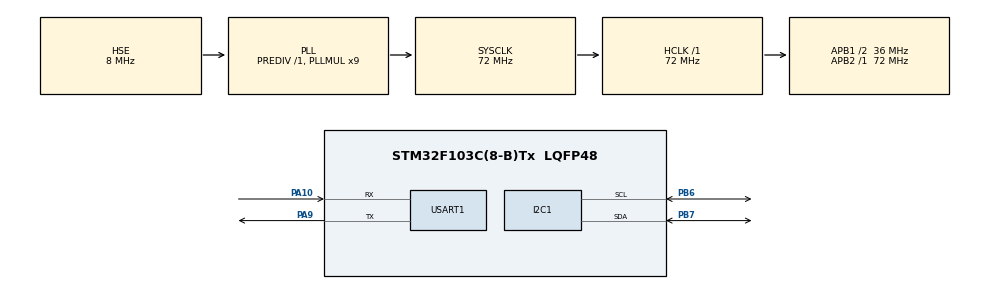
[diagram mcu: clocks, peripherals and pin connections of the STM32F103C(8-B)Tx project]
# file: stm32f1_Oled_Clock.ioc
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Mcu.Family=STM32F1
Mcu.Name=STM32F103C(8-B)Tx
Mcu.Package=LQFP48
NVIC.PriorityGroup=NVIC_PRIORITYGROUP_4
PA10.Mode=Asynchronous
PA10.Signal=USART1_RX
PA13.Mode=Serial_Wire
PA13.Signal=SYS_JTMS-SWDIO
PA14.Mode=Serial_Wire
PA14.Signal=SYS_JTCK-SWCLK
PA9.Mode=Asynchronous
PA9.Signal=USART1_TX
PB6.Mode=I2C
PB6.Signal=I2C1_SCL
PB7.Mode=I2C
PB7.Signal=I2C1_SDA
PD0-OSC_IN.Mode=HSE-External-Oscillator
PD0-OSC_IN.Signal=RCC_OSC_IN
PD1-OSC_OUT.Mode=HSE-External-Oscillator
PD1-OSC_OUT.Signal=RCC_OSC_OUT
ProjectManager.HeapSize=0x200
ProjectManager.StackSize=0x400
ProjectManager.TargetToolchain=TrueSTUDIO
RCC.AHBFreq_Value=72000000
RCC.APB1CLKDivider=RCC_HCLK_DIV2
RCC.APB1Freq_Value=36000000
RCC.APB1TimFreq_Value=72000000
RCC.APB2Freq_Value=72000000
RCC.APB2TimFreq_Value=72000000
RCC.HCLKFreq_Value=72000000
RCC.PLLMUL=RCC_PLL_MUL9
RCC.PLLSourceVirtual=RCC_PLLSOURCE_HSE
RCC.SYSCLKFreq_VALUE=72000000
RCC.SYSCLKSource=RCC_SYSCLKSOURCE_PLLCLK
RCC.USBFreq_Value=72000000
USART1.VirtualMode=VM_ASYNC
board=custom

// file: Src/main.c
/* USER CODE BEGIN Header */
/**
 ******************************************************************************
 * @file           : main.c
 * @brief          : Main program body
 ******************************************************************************
 ** This notice applies to any and all portions of this file
 * that are not between comment pairs USER CODE BEGIN and
 * USER CODE END. Other portions of this file, whether
 * inserted by the user or by software development tools
 * are owned by their respective copyright owners.
 *
 * COPYRIGHT(c) 2019 STMicroelectronics
 *
 * Redistribution and use in source and binary forms, with or without modification,
 * are permitted provided that the following conditions are met:
 *   1. Redistributions of source code must retain the above copyright notice,
 *      this list of conditions and the following disclaimer.
 *   2. Redistributions in binary form must reproduce the above copyright notice,
 *      this list of conditions and the following disclaimer in the documentation
 *      and/or other materials provided with the distribution.
 *   3. Neither the name of STMicroelectronics nor the names of its contributors
 *      may be used to endorse or promote products derived from this software
 *      without specific prior written permission.
 *
 * THIS SOFTWARE IS PROVIDED BY THE COPYRIGHT HOLDERS AND CONTRIBUTORS "AS IS"
 * AND ANY EXPRESS OR IMPLIED WARRANTIES, INCLUDING, BUT NOT LIMITED TO, THE
 * IMPLIED WARRANTIES OF MERCHANTABILITY AND FITNESS FOR A PARTICULAR PURPOSE ARE
 * DISCLAIMED. IN NO EVENT SHALL THE COPYRIGHT HOLDER OR CONTRIBUTORS BE LIABLE
 * FOR ANY DIRECT, INDIRECT, INCIDENTAL, SPECIAL, EXEMPLARY, OR CONSEQUENTIAL
 * DAMAGES (INCLUDING, BUT NOT LIMITED TO, PROCUREMENT OF SUBSTITUTE GOODS OR
 * SERVICES; LOSS OF USE, DATA, OR PROFITS; OR BUSINESS INTERRUPTION) HOWEVER
 * CAUSED AND ON ANY THEORY OF LIABILITY, WHETHER IN CONTRACT, STRICT LIABILITY,
 * OR TORT (INCLUDING NEGLIGENCE OR OTHERWISE) ARISING IN ANY WAY OUT OF THE USE
 * OF THIS SOFTWARE, EVEN IF ADVISED OF THE POSSIBILITY OF SUCH DAMAGE.
 *
 ******************************************************************************
 */
/* USER CODE END Header */

#include "main.h"
#include "i2c.h"
#include "usart.h"
#include "gpio.h"
#include <string.h>
#include <stdlib.h>

/* USER CODE BEGIN Includes */
#include "ssd1306.h"
#include <inttypes.h>
/* USER CODE END Includes */

void SystemClock_Config(void);

int main(void) {

	/* MCU Configuration--------------------------------------------------------*/

	/* Reset of all peripherals, Initializes the Flash interface and the Systick. */
	HAL_Init();

	/* Configure the system clock */
	SystemClock_Config();

	/* Initialize all configured peripherals */
	MX_GPIO_Init();
	MX_I2C1_Init();
	MX_USART1_UART_Init();
	/* USER CODE BEGIN 2 */
	ssd1306_Init();

	ssd1306_SetCursor(0, 0);
	ssd1306_WriteString("Clock", Font_11x18, White);
	ssd1306_UpdateScreen();
	HAL_Delay(1000);
	/* USER CODE END 2 */

	/* Infinite loop */
	/* USER CODE BEGIN WHILE */
	uint8_t dc3231Addr = (uint8_t) 0xD0;

	DS3231_sendData(hi2c1, dc3231Addr); //Передадим адрес устройству
	while (HAL_I2C_GetState(&hi2c1) != HAL_I2C_STATE_READY) {
	}
	//Read
	I2C_ReadCalendarData(hi2c1, dc3231Addr); //—читаем 7 байт с устройства
	//set date
	DS3231_setDate(hi2c1, dc3231Addr); //call to update set data
	//Write

	while (1) {
		/* USER CODE END WHILE */

		/* USER CODE BEGIN 3 */
		DS3231_sendData(hi2c1, dc3231Addr); //Передадим адрес устройству
		while (HAL_I2C_GetState(&hi2c1) != HAL_I2C_STATE_READY) {
		}
		//Read
		I2C_ReadCalendarData(hi2c1, dc3231Addr); //—читаем 7 байт с устройства

		ssd1306_SetCursor(0, 0);
		ssd1306_WriteString(readDate(), Font_11x18, White);
		ssd1306_WriteString(":", Font_11x18, White);
		ssd1306_WriteString(readMonth(), Font_11x18, White);
		ssd1306_WriteString(":", Font_11x18, White);
		ssd1306_WriteString("20", Font_11x18, White);
		ssd1306_WriteString(readYear(), Font_11x18, White);

		ssd1306_SetCursor(0, 18);
		ssd1306_WriteString(readHours(), Font_11x18, White);
		ssd1306_WriteString(":", Font_11x18, White);
		ssd1306_WriteString(readMinutes(), Font_11x18, White);
		ssd1306_WriteString(":", Font_11x18, White);
		ssd1306_WriteString(readSeconds(), Font_11x18, White);

		ssd1306_SetCursor(0, 36);
		//		char* full_text;
		//		full_text= malloc(5+strlen(readDay())+1);
		//		strcpy(full_text, "Day: ");
		//		strcat(full_text, readDay());
		ssd1306_WriteString(readDay(), Font_11x18, White);
		ssd1306_UpdateScreen();
		HAL_Delay(100);
	}
	/* USER CODE END 3 */
}

void SystemClock_Config(void) {
	RCC_OscInitTypeDef RCC_OscInitStruct = { 0 };
	RCC_ClkInitTypeDef RCC_ClkInitStruct = { 0 };

	/**Initializes the CPU, AHB and APB busses clocks
	 */
	RCC_OscInitStruct.OscillatorType = RCC_OSCILLATORTYPE_HSE;
	RCC_OscInitStruct.HSEState = RCC_HSE_ON;
	RCC_OscInitStruct.HSEPredivValue = RCC_HSE_PREDIV_DIV1;
	RCC_OscInitStruct.HSIState = RCC_HSI_ON;
	RCC_OscInitStruct.PLL.PLLState = RCC_PLL_ON;
	RCC_OscInitStruct.PLL.PLLSource = RCC_PLLSOURCE_HSE;
	RCC_OscInitStruct.PLL.PLLMUL = RCC_PLL_MUL9;
	if (HAL_RCC_OscConfig(&RCC_OscInitStruct) != HAL_OK) {
		Error_Handler();
	}
	/**Initializes the CPU, AHB and APB busses clocks
	 */
	RCC_ClkInitStruct.ClockType = RCC_CLOCKTYPE_HCLK | RCC_CLOCKTYPE_SYSCLK
			| RCC_CLOCKTYPE_PCLK1 | RCC_CLOCKTYPE_PCLK2;
	RCC_ClkInitStruct.SYSCLKSource = RCC_SYSCLKSOURCE_PLLCLK;
	RCC_ClkInitStruct.AHBCLKDivider = RCC_SYSCLK_DIV1;
	RCC_ClkInitStruct.APB1CLKDivider = RCC_HCLK_DIV2;
	RCC_ClkInitStruct.APB2CLKDivider = RCC_HCLK_DIV1;

	if (HAL_RCC_ClockConfig(&RCC_ClkInitStruct, FLASH_LATENCY_2) != HAL_OK) {
		Error_Handler();
	}
}

void Error_Handler(void) {
}

/************************ (C) COPYRIGHT STMicroelectronics *****END OF FILE****/
